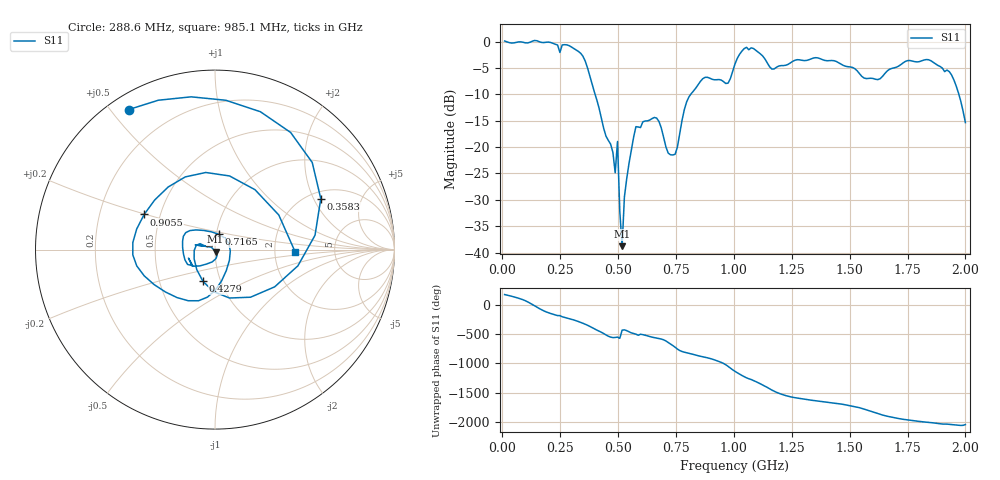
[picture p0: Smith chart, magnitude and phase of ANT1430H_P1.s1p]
!Created with skrf (http://scikit-rf.org).
# Hz S RI R 50.0
!freq ReS11 ImS11
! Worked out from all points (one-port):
!   201 points, 10 MHz to 2 GHz, reference 50 ohm
!   lowest |S11| = -38.8 dB at 517.5 MHz (marker M1), VSWR 1.02, Z = 50.3 - j1.12 ohm
!   |S11| at or under -10 dB: 400.9 MHz to 813.7 MHz (412.8 MHz wide, 68 % of centre); 1.972 GHz to end of sweep
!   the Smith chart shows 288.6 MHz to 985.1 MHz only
!   S11 on the Smith chart (normalised r, x): 288.6 MHz: 0.06, +0.56; 358.2 MHz: 2.30, +2.28; 427.9 MHz: 0.82, -0.30; 716.5 MHz: 1.03, +0.18; 905.5 MHz: 0.41, +0.20; 985.1 MHz: 2.61, -0.09
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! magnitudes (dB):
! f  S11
! 10 MHz  0.1
! 258.8 MHz  -0.6
! 288.6 MHz  -0.8
! 358.2 MHz  -3.7
! 427.9 MHz  -14.5
! 477.6 MHz  -21.0
! 487.6 MHz  -24.9
! 497.6 MHz  -18.9
! 507.5 MHz  -32.2
! 517.5 MHz  -38.8
! 527.4 MHz  -29.4
! 577.1 MHz  -16.1
! 666.7 MHz  -14.5
! 716.5 MHz  -21.1
! 756.2 MHz  -20.0
! 806 MHz  -10.5
! 905.5 MHz  -7.1
! 985.1 MHz  -7.0
! 1.005 GHz  -4.2
! 1.055 GHz  -1.1
! 1.164 GHz  -5.2
! 1.254 GHz  -3.7
! 1.502 GHz  -4.8
! 1.622 GHz  -7.2
! 1.751 GHz  -3.6
! 1.93 GHz  -5.7
! 1.97 GHz  -9.7
! 2 GHz  -15.3
